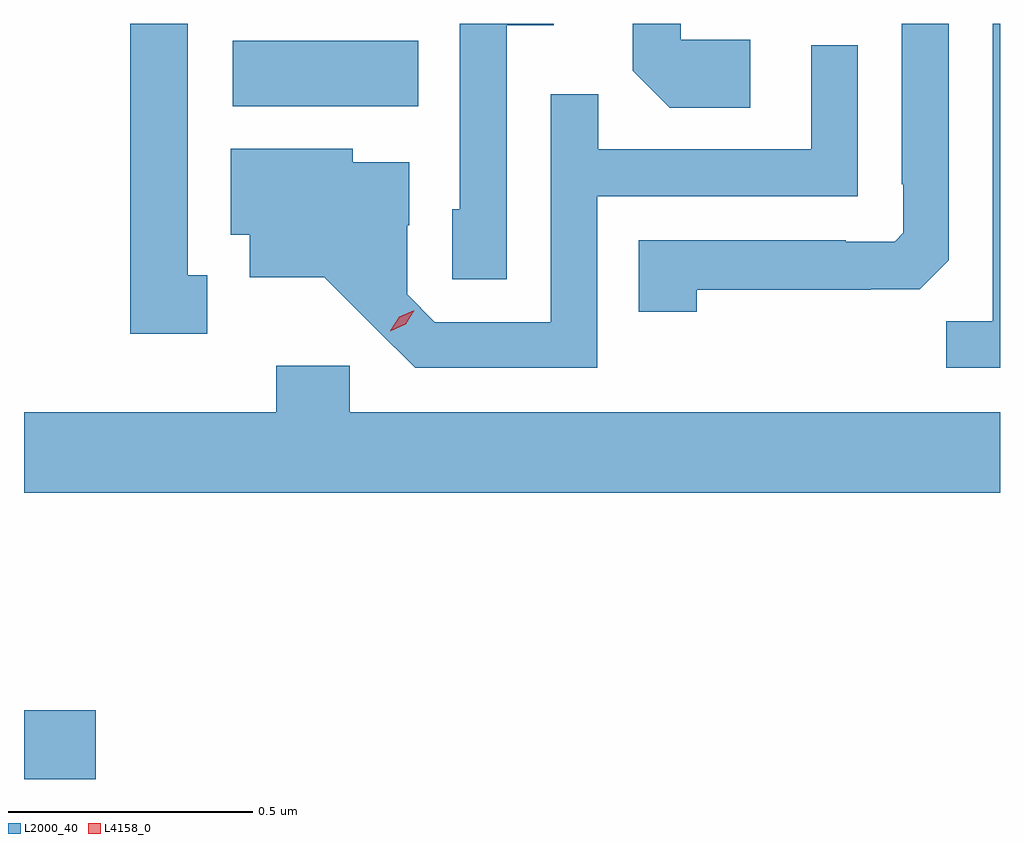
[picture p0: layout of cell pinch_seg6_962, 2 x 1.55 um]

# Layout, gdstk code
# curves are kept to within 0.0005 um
import gdstk
lib = gdstk.Library(unit=1e-6, precision=1e-09)
def R(c, l, rs):  # rectangles x0, y0, x1, y1
    for r in rs: c.add(gdstk.rectangle(r[:2], r[2:], *l))
def P(c, l, *ps):  # polygons
    for p in ps: c.add(gdstk.Polygon(p, *l))
L2000_40 = (2000, 40)
L4158_0 = (4158, 0)

pinch_seg6_962 = lib.new_cell('pinch_seg6_962')
R(pinch_seg6_962, L2000_40, [(338.746,940.088,338.893,940.23), (339.174,941.468,339.554,941.602)])
P(pinch_seg6_962, L2000_40, [(339.121,941.121),(339.082,941.121),(339.082,941.637),(338.964,941.637),(338.964,941.001),(339.121,941.001)],
  [(340.234,941.604),(340.092,941.604),(340.092,941.637),(339.993,941.637),(339.993,941.54),(340.069,941.464),(340.234,941.464)],
  [(340.746,941.637),(340.731,941.637),(340.731,941.027),(340.636,941.027),(340.636,940.932),(340.746,940.932)],
  [(340.125,941.092),(340.481,941.092),(340.481,941.093),(340.582,941.093),(340.641,941.152),(340.641,941.637),(340.545,941.637),(340.545,941.308),(340.548,941.308),(340.548,941.208),(340.53,941.19),(340.43,941.19),(340.43,941.193),(340.006,941.193),(340.006,941.046),(340.125,941.046)],
  [(339.735,941.633),(339.832,941.633),(339.832,941.637),(339.639,941.637),(339.639,941.256),(339.624,941.256),(339.624,941.113),(339.735,941.113)],
  [(339.921,941.283),(340.455,941.283),(340.455,941.593),(340.359,941.593),(340.359,941.379),(339.923,941.379),(339.923,941.492),(339.825,941.492),(339.825,941.025),(339.588,941.025),(339.531,941.082),(339.531,941.224),(339.535,941.224),(339.535,941.353),(339.42,941.353),(339.42,941.38),(339.17,941.38),(339.17,941.204),(339.209,941.204),(339.209,941.117),(339.361,941.117),(339.548,940.932),(339.921,940.932)],
  [(340.746,940.84),(339.414,940.84),(339.414,940.936),(339.263,940.936),(339.263,940.84),(338.746,940.84),(338.746,940.676),(340.746,940.676)])
P(pinch_seg6_962, L4158_0, [(339.497,941.006),(339.497,941.007),(339.515,941.036),(339.546,941.05),(339.546,941.05),(339.546,941.05),(339.528,941.021),(339.497,941.006)])

lib.write_gds('pinch_seg6_962.gds')
